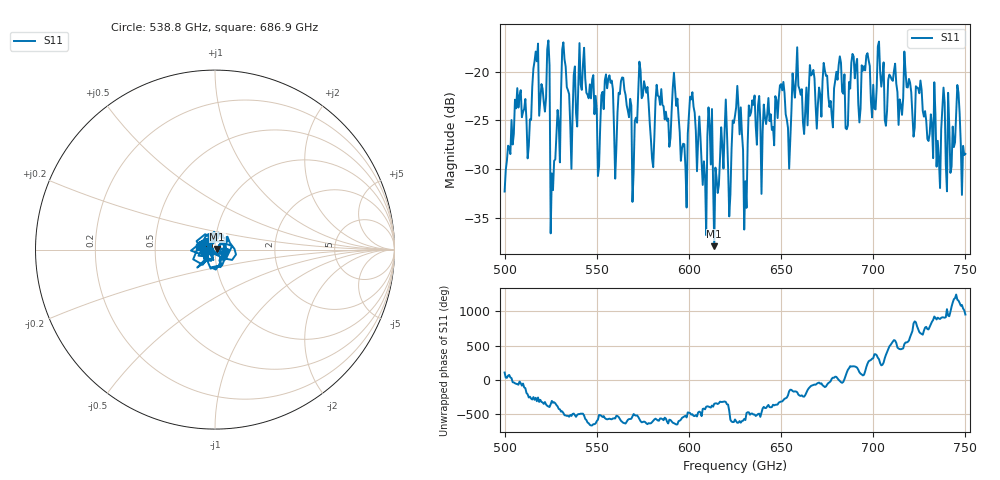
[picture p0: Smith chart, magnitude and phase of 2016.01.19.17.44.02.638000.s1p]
!Created with skrf (http://scikit-rf.org).
# GHz S RI R 50.0
!freq ReS11 ImS11
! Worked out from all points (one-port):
!   401 points, 500 GHz to 750 GHz, reference 50 ohm
!   lowest |S11| = -38.0 dB at 613.8 GHz (marker M1), VSWR 1.03, Z = 51.2 + j0.349 ohm
!   |S11| at or under -10 dB: start of sweep to end of sweep
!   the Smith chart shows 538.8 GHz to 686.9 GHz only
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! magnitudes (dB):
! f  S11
! 500 GHz  -32.3
! 506.9 GHz  -21.7
! 513.1 GHz  -27.6
! 516.9 GHz  -17.9
! 523.1 GHz  -17.7
! 526.2 GHz  -32.2
! 531.2 GHz  -17.7
! 535.6 GHz  -25.5
! 541.9 GHz  -21.9
! 550.6 GHz  -30.7
! 562.5 GHz  -22.3
! 570.6 GHz  -25.1
! 574.4 GHz  -22.7
! 580 GHz  -28.9
! 593.8 GHz  -22.8
! 597.5 GHz  -27.5
! 601.9 GHz  -22.1
! 608.1 GHz  -29.2
! 611.2 GHz  -25.5
! 613.8 GHz  -38.0
! 622.5 GHz  -32.6
! 625 GHz  -24.5
! 630.6 GHz  -31.3
! 634.4 GHz  -22.9
! 656.2 GHz  -20.2
! 687.5 GHz  -21.7
! 718.8 GHz  -21.6
! 750 GHz  -28.5
